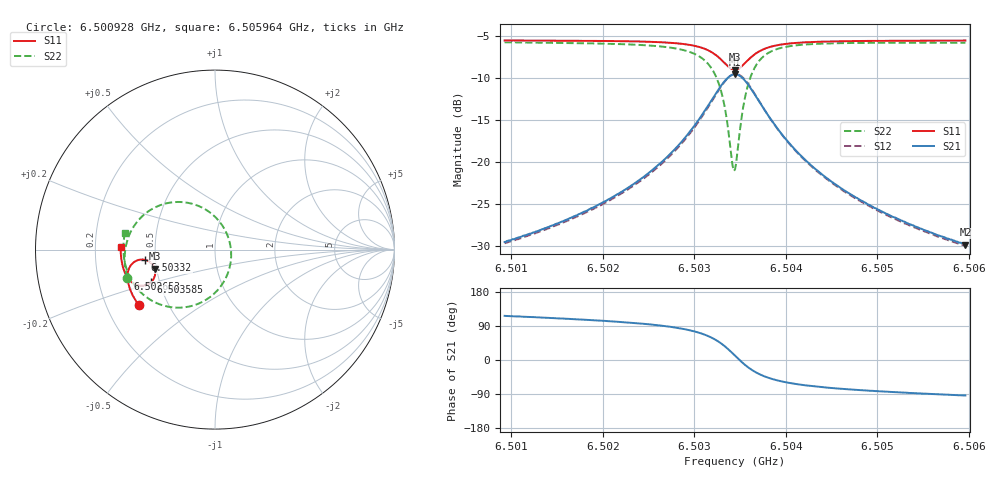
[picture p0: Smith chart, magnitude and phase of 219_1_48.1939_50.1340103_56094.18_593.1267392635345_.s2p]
#  HZ  S  RI  R  50.00
! Rohde & Schwarz Vector Network Analyzer
! Rohde-Schwarz,ZNB20-2Port,1311601062101988,3.16
! Created: UTC 3/20/2024, 11:45:51 AM
! freq[Hz]  re:S11  im:S11  re:S21  im:S21  re:S12  im:S12  re:S22  im:S22
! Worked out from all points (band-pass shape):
!   401 points, 6.500928 GHz to 6.505964 GHz, reference 50 ohm
!   highest |S21| = -9.59 dB at 6.503446 GHz (marker M1); lowest = -29.8 dB at 6.505964 GHz (marker M2)
!   |S21| within 3 dB of the highest: 6.503194 GHz to 6.503697 GHz (503.2 kHz wide, 0.00774 % of centre)
!   lowest |S11| = -9.1 dB at 6.503446 GHz (marker M3), VSWR 2.09, Z = 24.4 - j5.94 ohm
!   |S11| at or under -10 dB: nowhere
!   |S22| runs from -21.1 to -5.8 dB; largest |S21 - S12| = 0.012
!   S11 on the Smith chart (normalised r, x): 6.500928 GHz: 0.34, -0.29; 6.502653 GHz: 0.33, -0.14; 6.50332 GHz: 0.44, -0.06; 6.503585 GHz: 0.45, -0.19; 6.505964 GHz: 0.31, +0.01
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6.500928e9  -0.4252 -0.3106  -0.015 0.0299  -0.0132 0.0301  -0.4893 -0.1561
6.5017715e9  -0.4617 -0.2484  -0.0142 0.0478  -0.0118 0.0473  -0.5028 -0.0667
6.5022122e9  -0.4773 -0.2096  -0.0118 0.0657  -0.00859 0.0648  -0.5006 -0.00478
6.5026151e9  -0.487 -0.1655  -0.00238 0.0966  0.00131 0.0943  -0.4805 0.0746
6.5026529e9  -0.4875 -0.1606  -0.000651 0.1008  0.00322 0.0983  -0.4766 0.0841
6.5029299e9  -0.4834 -0.1175  0.0263 0.1434  0.03 0.139  -0.4209 0.1702
6.5031187e9  -0.4621 -0.0793  0.0807 0.1856  0.0831 0.1795  -0.3168 0.2429
6.503232e9  -0.4293 -0.0586  0.1503 0.2032  0.151 0.1969  -0.1914 0.2652
6.5033202e9  -0.3886 -0.057  0.2302 0.1868  0.2306 0.1816  -0.0532 0.2238
6.5033579e9  -0.3692 -0.065  0.2668 0.1633  0.2677 0.1587  0.00703 0.1762
6.5034209e9  -0.3425 -0.092  0.3145 0.0987  0.3171 0.0936  0.079 0.0516
6.5034461e9  -0.3361 -0.1067  0.3247 0.0661  0.3278 0.0602  0.0897 -0.00912
6.5034713e9  -0.3332 -0.1226  0.328 0.0322  0.3315 0.025  0.0872 -0.0711
6.5035342e9  -0.3406 -0.1601  0.3093 -0.0462  0.3114 -0.0563  0.0301 -0.2071
6.5035846e9  -0.3571 -0.182  0.2754 -0.0916  0.2749 -0.1031  -0.0471 -0.2778
6.5036979e9  -0.4018 -0.2012  0.1905 -0.1364  0.1851 -0.1458  -0.2189 -0.3232
6.5038616e9  -0.448 -0.1915  0.1087 -0.1329  0.1014 -0.1378  -0.3665 -0.2757
6.5040378e9  -0.4756 -0.1701  0.0639 -0.1125  0.0578 -0.1147  -0.4385 -0.2104
6.5042896e9  -0.4962 -0.1402  0.0339 -0.088  0.0291 -0.0886  -0.4819 -0.138
6.5046548e9  -0.5114 -0.1021  0.0153 -0.0653  0.012 -0.0649  -0.5037 -0.0649
6.5051332e9  -0.5212 -0.0577  0.00503 -0.0481  0.00274 -0.0474  -0.5103 0.00286
6.5059642e9  -0.5261 0.0127  -0.00201 -0.0322  -0.0034 -0.0314  -0.5024 0.0906
